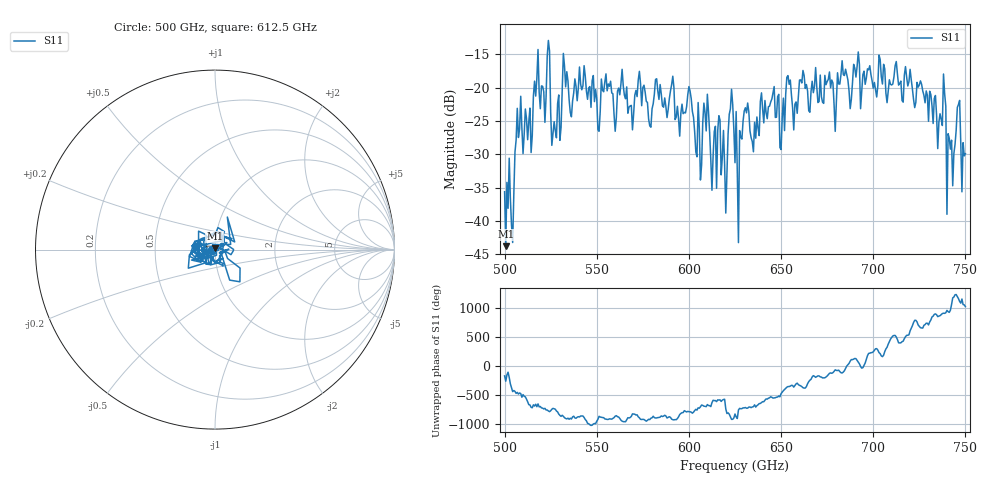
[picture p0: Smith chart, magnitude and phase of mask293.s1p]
!Created with skrf (http://scikit-rf.org).
# GHz S MA R 50.0
!freq magS11 angS11
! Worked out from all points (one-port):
!   401 points, 500 GHz to 750 GHz, reference 50 ohm
!   lowest |S11| = -43.8 dB at 500.6 GHz (marker M1), VSWR 1.01, Z = 49.9 + j0.632 ohm
!   |S11| at or under -10 dB: start of sweep to end of sweep
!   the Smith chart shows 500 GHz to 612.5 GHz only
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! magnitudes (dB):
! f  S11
! 500 GHz  -35.6
! 500.6 GHz  -43.8
! 504.4 GHz  -43.2
! 507.5 GHz  -27.5
! 513.8 GHz  -23.1
! 516.9 GHz  -21.2
! 523.8 GHz  -12.9
! 526.9 GHz  -25.1
! 531.2 GHz  -20.5
! 562.5 GHz  -21.1
! 579.4 GHz  -25.9
! 590.6 GHz  -19.5
! 593.8 GHz  -22.8
! 600.6 GHz  -20.5
! 605.6 GHz  -26.1
! 609.4 GHz  -26.5
! 618.8 GHz  -26.4
! 622.5 GHz  -23.2
! 625 GHz  -31.3
! 627.5 GHz  -26.4
! 631.2 GHz  -23.8
! 635 GHz  -29.6
! 656.2 GHz  -23.0
! 687.5 GHz  -23.1
! 718.8 GHz  -19.7
! 741.2 GHz  -27.6
! 746.2 GHz  -22.5
! 750 GHz  -29.9
